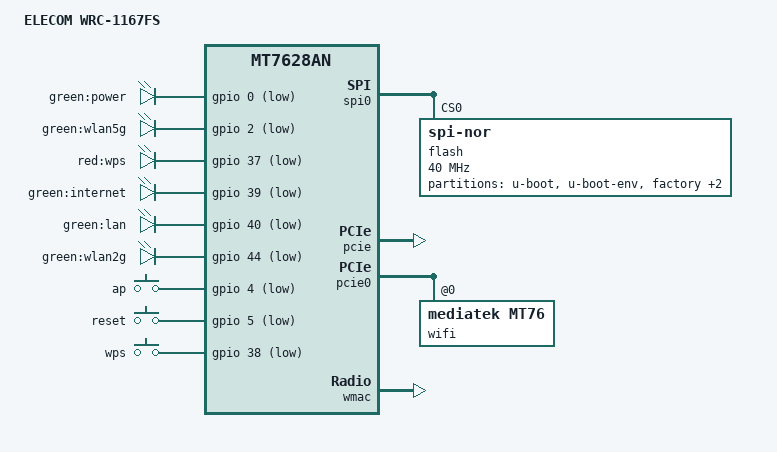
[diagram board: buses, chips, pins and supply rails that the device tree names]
// SPDX-License-Identifier: GPL-2.0-or-later OR MIT

#include "mt7628an.dtsi"

#include <dt-bindings/gpio/gpio.h>
#include <dt-bindings/input/input.h>

/ {
	compatible = "elecom,wrc-1167fs", "mediatek,mt7628an-soc";
	model = "ELECOM WRC-1167FS";

	aliases {
		led-boot = &led_power;
		led-failsafe = &led_power;
		led-running = &led_power;
		led-upgrade = &led_power;
	};

	leds {
		compatible = "gpio-leds";

		led_power: power {
			label = "green:power";
			gpios = <&gpio 0 GPIO_ACTIVE_LOW>;
		};

		wlan5g {
			label = "green:wlan5g";
			gpios = <&gpio 2 GPIO_ACTIVE_LOW>;
			linux,default-trigger = "phy1tpt";
		};

		wps {
			label = "red:wps";
			gpios = <&gpio 37 GPIO_ACTIVE_LOW>;
		};

		internet {
			label = "green:internet";
			gpios = <&gpio 39 GPIO_ACTIVE_LOW>;
		};

		lan {
			label = "green:lan";
			gpios = <&gpio 40 GPIO_ACTIVE_LOW>;
		};

		wlan2g {
			label = "green:wlan2g";
			gpios = <&gpio 44 GPIO_ACTIVE_LOW>;
			linux,default-trigger = "phy0tpt";
		};
	};

	keys {
		compatible = "gpio-keys";

		ap {
			label = "ap";
			gpios = <&gpio 4 GPIO_ACTIVE_LOW>;
			linux,code = <BTN_0>;
			linux,input-type = <EV_SW>;
		};

		reset {
			label = "reset";
			gpios = <&gpio 5 GPIO_ACTIVE_LOW>;
			linux,code = <KEY_RESTART>;
		};

		wps {
			label = "wps";
			gpios = <&gpio 38 GPIO_ACTIVE_LOW>;
			linux,code = <KEY_WPS_BUTTON>;
		};
	};
};

&spi0 {
	status = "okay";

	flash@0 {
		compatible = "jedec,spi-nor";
		reg = <0>;
		spi-max-frequency = <40000000>;

		partitions {
			compatible = "fixed-partitions";
			#address-cells = <1>;
			#size-cells = <1>;

			partition@0 {
				label = "u-boot";
				reg = <0x0 0x30000>;
				read-only;
			};

			partition@30000 {
				label = "u-boot-env";
				reg = <0x30000 0x10000>;
				read-only;
			};

			factory: partition@40000 {
				label = "factory";
				reg = <0x40000 0x10000>;
				read-only;
			};

			partition@50000 {
				compatible = "denx,uimage";
				label = "firmware";
				reg = <0x50000 0x730000>;
			};

			partition@780000 {
				label = "storage";
				reg = <0x780000 0x80000>;
				read-only;
			};
		};
	};
};

&ehci {
	status = "disabled";
};

&esw {
	mediatek,portmap = <0x2f>;
	mediatek,portdisable = <0x27>;
};

&ethernet {
	nvmem-cells = <&macaddr_factory_28>;
	nvmem-cell-names = "mac-address";
};

&ohci {
	status = "disabled";
};

&pcie {
	status = "okay";
};

&pcie0 {
	wifi@0,0 {
		compatible = "mediatek,mt76";
		reg = <0x0000 0 0 0 0>;
		mediatek,mtd-eeprom = <&factory 0x8000>;
		ieee80211-freq-limit = <5000000 6000000>;
	};
};

&state_default {
	gpio {
		groups = "wled_an", "p3led_an", "p4led_an", "wdt", "refclk", "i2c", "i2s";
		function = "gpio";
	};
};

&wmac {
	status = "okay";

	mediatek,mtd-eeprom = <&factory 0x0>;
};

&factory {
	compatible = "nvmem-cells";
	#address-cells = <1>;
	#size-cells = <1>;

	macaddr_factory_28: macaddr@28 {
		reg = <0x28 0x6>;
	};
};
